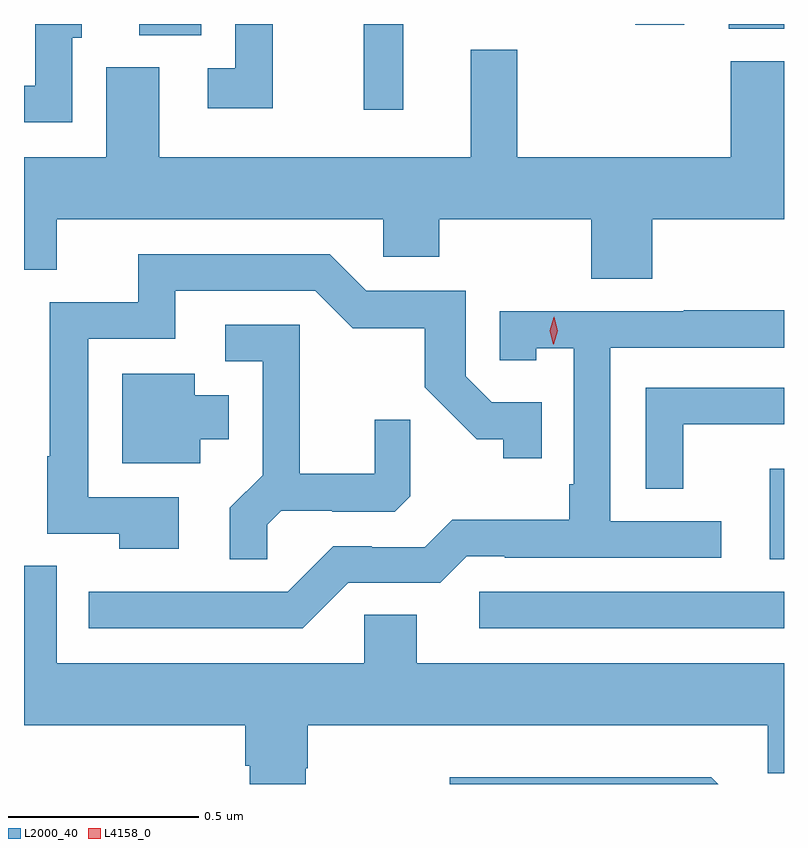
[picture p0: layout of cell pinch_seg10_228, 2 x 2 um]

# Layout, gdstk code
import gdstk
lib = gdstk.Library(unit=1e-6, precision=1e-09)
def R(c, l, rs):  # rectangles x0, y0, x1, y1
    for r in rs: c.add(gdstk.rectangle(r[:2], r[2:], *l))
def P(c, l, *ps):  # polygons
    for p in ps: c.add(gdstk.Polygon(p, *l))
L2000_40 = (2000, 40)
L4158_0 = (4158, 0)

pinch_seg10_228 = lib.new_cell('pinch_seg10_228')
R(pinch_seg10_228, L2000_40, [(635.565,1297.908,636.367,1298.004), (636.329,1298.089,636.367,1298.328), (635.261,1299.273,635.365,1299.498), (634.67,1299.469,634.834,1299.498), (636.222,1299.485,636.367,1299.498), (635.976,1299.496,636.105,1299.498)])
P(pinch_seg10_228, L2000_40, [(635.022,1299.498),(634.923,1299.498),(634.923,1299.381),(634.851,1299.381),(634.851,1299.276),(635.022,1299.276)],
  [(634.494,1299.462),(634.519,1299.462),(634.519,1299.498),(634.397,1299.498),(634.397,1299.336),(634.367,1299.336),(634.367,1299.24),(634.494,1299.24)],
  [(636.02,1298.984),(636.367,1298.984),(636.367,1299.4),(636.227,1299.4),(636.227,1299.148),(635.665,1299.148),(635.665,1299.43),(635.543,1299.43),(635.543,1299.148),(634.723,1299.148),(634.723,1299.384),(634.583,1299.384),(634.583,1299.148),(634.367,1299.148),(634.367,1298.851),(634.453,1298.851),(634.453,1298.984),(635.313,1298.984),(635.313,1298.886),(635.46,1298.886),(635.46,1298.984),(635.86,1298.984),(635.86,1298.827),(636.02,1298.827)],
  [(634.774,1298.253),(634.536,1298.253),(634.536,1298.67),(634.765,1298.67),(634.765,1298.796),(635.133,1298.796),(635.232,1298.698),(635.421,1298.698),(635.421,1298.542),(635.558,1298.405),(635.628,1298.405),(635.628,1298.355),(635.729,1298.355),(635.729,1298.502),(635.598,1298.502),(635.529,1298.571),(635.529,1298.796),(635.268,1298.796),(635.172,1298.892),(634.667,1298.892),(634.667,1298.766),(634.435,1298.766),(634.435,1298.36),(634.428,1298.36),(634.428,1298.157),(634.618,1298.157),(634.618,1298.117),(634.774,1298.117)],
  [(635.22,1298.028),(635.463,1298.028),(635.532,1298.097),(635.632,1298.097),(635.632,1298.094),(636.202,1298.094),(636.202,1298.19),(635.91,1298.19),(635.91,1298.646),(636.367,1298.646),(636.367,1298.745),(636.103,1298.745),(636.103,1298.742),(635.619,1298.742),(635.619,1298.613),(635.715,1298.613),(635.715,1298.645),(635.814,1298.645),(635.814,1298.287),(635.802,1298.287),(635.802,1298.194),(635.494,1298.194),(635.421,1298.121),(635.282,1298.121),(635.282,1298.124),(635.181,1298.124),(635.061,1298.004),(634.538,1298.004),(634.538,1297.908),(635.1,1297.908)],
  [(635.007,1298.18),(635.044,1298.217),(635.178,1298.217),(635.178,1298.214),(635.343,1298.214),(635.384,1298.255),(635.384,1298.457),(635.29,1298.457),(635.29,1298.314),(635.093,1298.314),(635.093,1298.706),(634.896,1298.706),(634.896,1298.61),(634.995,1298.61),(634.995,1298.311),(634.909,1298.225),(634.909,1298.089),(635.007,1298.089)],
  [(634.831,1298.405),(634.906,1298.405),(634.906,1298.521),(634.816,1298.521),(634.816,1298.578),(634.625,1298.578),(634.625,1298.342),(634.831,1298.342)],
  [(636.102,1298.445),(636.367,1298.445),(636.367,1298.541),(636.003,1298.541),(636.003,1298.275),(636.102,1298.275)],
  [(635.109,1297.539),(635.114,1297.539),(635.114,1297.652),(636.324,1297.652),(636.324,1297.526),(636.367,1297.526),(636.367,1297.816),(635.401,1297.816),(635.401,1297.943),(635.262,1297.943),(635.262,1297.816),(634.453,1297.816),(634.453,1298.072),(634.367,1298.072),(634.367,1297.652),(634.949,1297.652),(634.949,1297.546),(634.961,1297.546),(634.961,1297.498),(635.109,1297.498)],
  [(636.176,1297.516),(635.487,1297.516),(635.487,1297.498),(636.194,1297.498)])
P(pinch_seg10_228, L4158_0, [(635.76,1298.655),(635.751,1298.691),(635.761,1298.726),(635.762,1298.727),(635.762,1298.726),(635.771,1298.691),(635.761,1298.655),(635.761,1298.655)])

lib.write_gds('pinch_seg10_228.gds')
